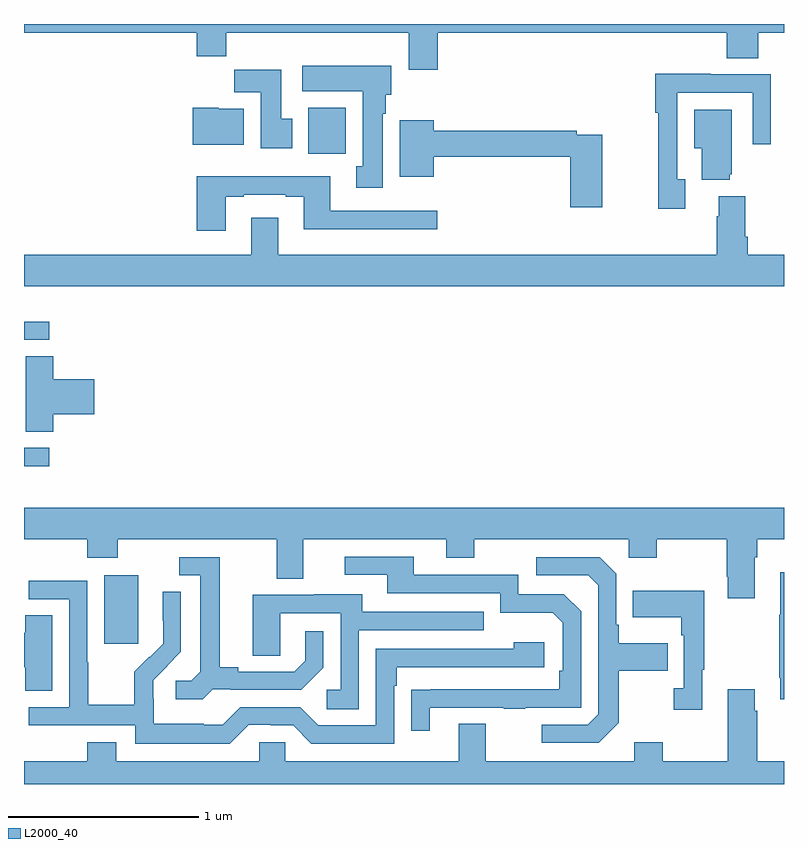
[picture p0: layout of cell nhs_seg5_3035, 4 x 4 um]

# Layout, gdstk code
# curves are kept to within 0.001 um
import gdstk
lib = gdstk.Library(unit=1e-6, precision=1e-09)
def R(c, l, rs):  # rectangles x0, y0, x1, y1
    for r in rs: c.add(gdstk.rectangle(r[:2], r[2:], *l))
def P(c, l, *ps):  # polygons
    for p in ps: c.add(gdstk.Polygon(p, *l))
L2000_40 = (2000, 40)

nhs_seg5_3035 = lib.new_cell('nhs_seg5_3035')
R(nhs_seg5_3035, L2000_40, [(287.423,861.537,287.602,861.898), (287,862.471,287.134,862.569), (287,863.136,287.134,863.232), (288.497,864.116,288.694,864.358)])
P(nhs_seg5_3035, L2000_40, [(287,864.752),(287.909,864.752),(287.909,864.628),(288.065,864.628),(288.065,864.752),(289.025,864.752),(289.025,864.558),(289.178,864.558),(289.178,864.752),(290.699,864.752),(290.699,864.619),(290.864,864.619),(290.864,864.752),(291,864.752),(291,864.799),(287,864.799)],
  [(288.889,864.326),(288.904,864.326),(288.904,864.426),(288.934,864.426),(288.934,864.58),(288.465,864.58),(288.465,864.446),(288.782,864.446),(288.782,864.05),(288.749,864.05),(288.749,863.937),(288.889,863.937)],
  [(288.412,864.3),(288.355,864.3),(288.355,864.559),(288.106,864.559),(288.106,864.44),(288.245,864.44),(288.245,864.144),(288.412,864.144)],
  [(290.479,863.982),(290.439,863.982),(290.439,864.438),(290.835,864.438),(290.835,864.165),(290.931,864.165),(290.931,864.534),(290.615,864.534),(290.615,864.536),(290.323,864.536),(290.323,864.331),(290.338,864.331),(290.338,863.826),(290.479,863.826)],
  [(288.157,864.352),(288.024,864.352),(288.024,864.358),(287.888,864.358),(287.888,864.164),(288.157,864.164)],
  [(290.714,864.009),(290.725,864.009),(290.725,864.349),(290.528,864.349),(290.528,864.146),(290.567,864.146),(290.567,863.978),(290.714,863.978)],
  [(290.044,864.216),(289.91,864.216),(289.91,864.236),(289.156,864.236),(289.156,864.292),(288.977,864.292),(288.977,863.996),(289.156,863.996),(289.156,864.1),(289.874,864.1),(289.874,863.835),(290.044,863.835)],
  [(288.061,863.889),(288.157,863.889),(288.157,863.901),(288.377,863.901),(288.377,863.889),(288.473,863.889),(288.473,863.72),(289.174,863.72),(289.174,863.817),(288.613,863.817),(288.613,863.998),(287.909,863.998),(287.909,863.712),(288.061,863.712)],
  [(291,863.584),(290.81,863.584),(290.81,863.68),(290.797,863.68),(290.797,863.893),(290.657,863.893),(290.657,863.786),(290.645,863.786),(290.645,863.584),(288.337,863.584),(288.337,863.779),(288.197,863.779),(288.197,863.584),(287,863.584),(287,863.42),(291,863.42)],
  [(287.153,862.745),(287.371,862.745),(287.371,862.928),(287.153,862.928),(287.153,863.051),(287.009,863.051),(287.009,862.654),(287.153,862.654)],
  [(290.845,861.992),(290.858,861.992),(290.858,862.088),(291,862.088),(291,862.252),(287,862.252),(287,862.088),(287.333,862.088),(287.333,861.989),(287.493,861.989),(287.493,862.088),(288.329,862.088),(288.329,861.88),(288.469,861.88),(288.469,862.088),(289.223,862.088),(289.223,861.989),(289.371,861.989),(289.371,862.088),(290.184,862.088),(290.184,861.989),(290.331,861.989),(290.331,862.088),(290.698,862.088),(290.698,861.889),(290.705,861.889),(290.705,861.777),(290.845,861.777)],
  [(289.135,861.201),(289.525,861.201),(289.525,861.196),(289.637,861.196),(289.637,861.201),(289.932,861.201),(289.932,861.708),(289.842,861.798),(289.602,861.798),(289.602,861.9),(289.051,861.9),(289.051,861.996),(288.687,861.996),(288.687,861.9),(288.911,861.9),(288.911,861.804),(289.506,861.804),(289.506,861.701),(289.783,861.701),(289.836,861.648),(289.836,861.394),(289.816,861.394),(289.816,861.297),(289.039,861.296),(289.039,861.078),(289.135,861.078)],
  [(287.994,861.297),(288.088,861.297),(288.088,861.294),(288.46,861.294),(288.576,861.41),(288.576,861.604),(288.479,861.604),(288.479,861.447),(288.422,861.39),(288.127,861.39),(288.127,861.413),(288.031,861.413),(288.031,861.993),(287.817,861.993),(287.817,861.897),(287.927,861.897),(287.927,861.389),(287.88,861.342),(287.799,861.342),(287.799,861.245),(287.942,861.245)],
  [(290.131,861.121),(290.131,861.394),(290.387,861.394),(290.387,861.541),(290.131,861.541),(290.131,861.637),(290.118,861.637),(290.118,861.906),(290.031,861.993),(289.695,861.993),(289.695,861.897),(289.971,861.897),(290.022,861.846),(290.022,861.165),(289.968,861.111),(289.725,861.111),(289.725,861.015),(290.025,861.015)],
  [(291,861.913),(290.981,861.913),(290.981,861.689),(290.974,861.689),(290.974,861.358),(290.981,861.358),(290.981,861.246),(291,861.246)],
  [(288.183,861.111),(288.299,861.111),(288.299,861.108),(288.417,861.108),(288.513,861.012),(288.948,861.012),(288.948,861.317),(288.961,861.317),(288.961,861.414),(289.738,861.414),(289.738,861.544),(289.577,861.544),(289.577,861.51),(288.852,861.51),(288.852,861.108),(288.549,861.108),(288.453,861.204),(288.138,861.204),(288.045,861.111),(287.945,861.111),(287.945,861.115),(287.682,861.115),(287.682,861.249),(287.68,861.249),(287.68,861.346),(287.826,861.494),(287.826,861.812),(287.73,861.812),(287.73,861.658),(287.732,861.658),(287.732,861.536),(287.661,861.465),(287.658,861.468),(287.581,861.391),(287.581,861.217),(287.337,861.217),(287.337,861.44),(287.334,861.44),(287.334,861.87),(287.025,861.87),(287.025,861.771),(287.238,861.771),(287.238,861.204),(287.025,861.204),(287.025,861.108),(287.586,861.108),(287.586,861.011),(288.083,861.011)],
  [(290.569,861.401),(290.581,861.401),(290.581,861.817),(290.203,861.817),(290.203,861.677),(290.46,861.677),(290.46,861.581),(290.472,861.581),(290.472,861.302),(290.421,861.302),(290.421,861.189),(290.569,861.189)],
  [(288.762,861.609),(289.421,861.609),(289.421,861.705),(288.781,861.705),(288.781,861.799),(288.527,861.799),(288.527,861.795),(288.203,861.795),(288.203,861.475),(288.348,861.475),(288.348,861.699),(288.666,861.699),(288.666,861.294),(288.594,861.294),(288.594,861.193),(288.762,861.193)],
  [(287.149,861.686),(287.006,861.686),(287.006,861.596),(287,861.596),(287,861.413),(287.006,861.413),(287.006,861.289),(287.149,861.289)],
  [(291,860.92),(290.858,860.92),(290.858,861.185),(290.845,861.185),(290.845,861.298),(290.705,861.298),(290.705,860.92),(290.361,860.92),(290.361,861.019),(290.213,861.019),(290.213,860.92),(289.429,860.92),(289.429,861.115),(289.289,861.115),(289.289,860.92),(288.375,860.92),(288.375,861.018),(288.237,861.018),(288.237,860.92),(287.485,860.92),(287.485,861.019),(287.333,861.019),(287.333,860.92),(287,860.92),(287,860.799),(291,860.799)])

lib.write_gds('nhs_seg5_3035.gds')
